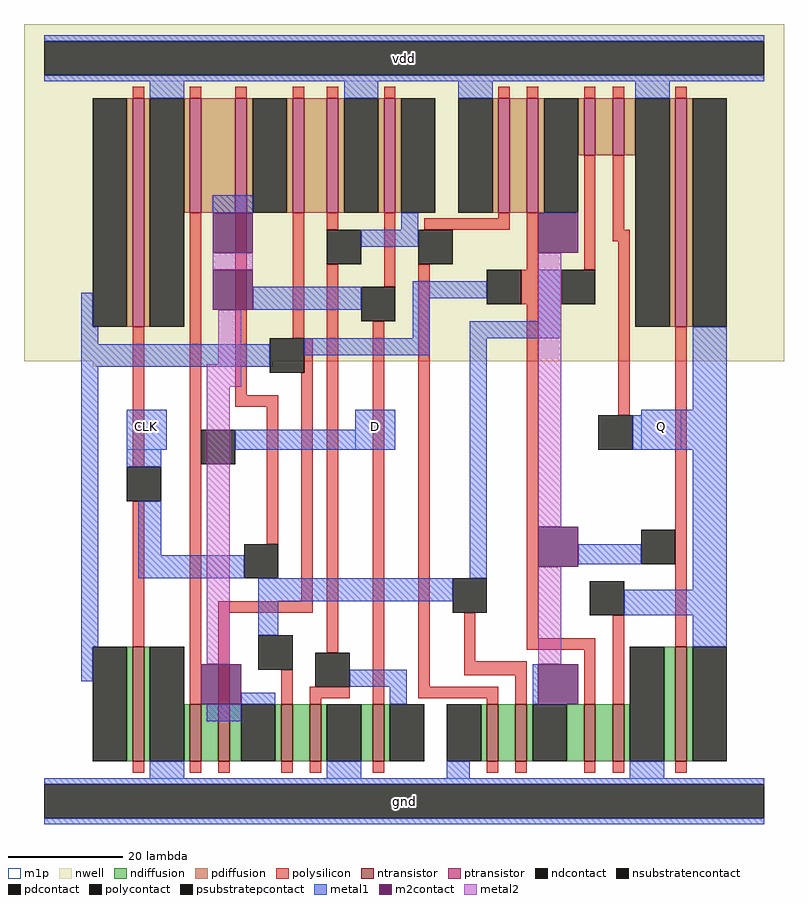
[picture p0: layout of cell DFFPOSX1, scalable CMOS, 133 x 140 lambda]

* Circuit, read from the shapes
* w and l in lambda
.subckt DFFPOSX1 D CLK Q vdd gnd
M1 gnd CLK n1 gnd nfet w=20 l=2
M2 n2 D gnd gnd nfet w=10 l=2
M3 n3 n1 n2 gnd nfet w=10 l=2
M4 n4 CLK n3 gnd nfet w=10 l=2
M5 gnd n5 n4 gnd nfet w=10 l=2
M6 n5 n3 gnd gnd nfet w=10 l=2
M7 n6 n5 gnd gnd nfet w=10 l=2
M8 n7 CLK n6 gnd nfet w=10 l=2
M9 n8 n1 n7 gnd nfet w=10 l=2
M10 gnd Q n8 gnd nfet w=10 l=2
M11 Q n7 gnd gnd nfet w=20 l=2
M12 vdd CLK n1 vdd pfet w=40 l=2
M13 n9 D vdd vdd pfet w=20 l=2
M14 n3 CLK n9 vdd pfet w=20 l=2
M15 n10 n1 n3 vdd pfet w=20 l=2
M16 vdd n5 n10 vdd pfet w=20 l=2
M17 n5 n3 vdd vdd pfet w=20 l=2
M18 n11 n5 vdd vdd pfet w=20 l=2
M19 n7 n1 n11 vdd pfet w=20 l=2
M20 n12 CLK n7 vdd pfet w=10 l=2
M21 vdd Q n12 vdd pfet w=10 l=2
M22 Q n7 vdd vdd pfet w=40 l=2
.ends

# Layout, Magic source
magic
tech scmos
magscale 1 2
<< nwell >>
rect -13 154 253 272
rect 11 152 74 154
<< ntransistor >>
rect 25 14 29 54
rect 45 14 49 34
rect 55 14 59 34
rect 77 14 81 34
rect 87 14 91 34
rect 109 14 113 34
rect 149 14 153 34
rect 159 14 163 34
rect 183 14 187 34
rect 193 14 197 34
rect 215 14 219 54
<< ptransistor >>
rect 25 166 29 246
rect 45 206 49 246
rect 61 206 65 246
rect 81 206 85 246
rect 93 206 97 246
rect 113 206 117 246
rect 153 206 157 246
rect 163 206 167 246
rect 183 226 187 246
rect 193 226 197 246
rect 215 166 219 246
<< ndiffusion >>
rect 23 14 25 54
rect 29 14 31 54
rect 43 14 45 34
rect 49 14 55 34
rect 59 14 63 34
rect 75 14 77 34
rect 81 14 87 34
rect 91 14 93 34
rect 105 14 109 34
rect 113 14 115 34
rect 147 14 149 34
rect 153 14 159 34
rect 163 14 165 34
rect 177 14 183 34
rect 187 14 193 34
rect 197 14 199 34
rect 211 14 215 54
rect 219 14 221 54
<< pdiffusion >>
rect 23 166 25 246
rect 29 166 31 246
rect 43 206 45 246
rect 49 206 61 246
rect 65 206 67 246
rect 79 206 81 246
rect 85 206 93 246
rect 97 206 99 246
rect 111 206 113 246
rect 117 206 119 246
rect 151 206 153 246
rect 157 206 163 246
rect 167 206 169 246
rect 181 226 183 246
rect 187 226 193 246
rect 197 226 201 246
rect 213 166 215 246
rect 219 166 221 246
<< ndcontact >>
rect 11 14 23 54
rect 31 14 43 54
rect 63 14 75 34
rect 93 14 105 34
rect 115 14 127 34
rect 135 14 147 34
rect 165 14 177 34
rect 199 14 211 54
rect 221 14 233 54
<< pdcontact >>
rect 11 166 23 246
rect 31 166 43 246
rect 67 206 79 246
rect 99 206 111 246
rect 119 206 131 246
rect 139 206 151 246
rect 169 206 181 246
rect 201 166 213 246
rect 221 166 233 246
<< psubstratepcontact >>
rect -6 -6 246 6
<< nsubstratencontact >>
rect -6 254 246 266
<< polysilicon >>
rect 25 246 29 250
rect 45 246 49 250
rect 61 246 65 250
rect 81 246 85 250
rect 93 246 97 250
rect 113 246 117 250
rect 153 246 157 250
rect 163 246 167 250
rect 183 246 187 250
rect 193 246 197 250
rect 215 246 219 250
rect 25 117 29 166
rect 25 54 29 105
rect 45 34 49 206
rect 61 142 65 206
rect 81 162 85 206
rect 93 200 97 206
rect 85 150 88 162
rect 61 138 76 142
rect 72 90 76 138
rect 84 70 88 150
rect 55 66 88 70
rect 55 34 59 66
rect 93 52 97 188
rect 113 180 117 206
rect 153 204 157 206
rect 127 200 157 204
rect 77 34 81 46
rect 87 36 101 40
rect 87 34 91 36
rect 109 34 113 168
rect 125 40 129 188
rect 163 186 167 206
rect 183 186 187 226
rect 193 200 197 226
rect 193 196 199 200
rect 161 174 167 186
rect 141 49 145 66
rect 163 57 167 174
rect 195 135 199 196
rect 163 53 187 57
rect 141 44 163 49
rect 125 36 153 40
rect 149 34 153 36
rect 159 34 163 44
rect 183 34 187 53
rect 193 34 197 65
rect 215 54 219 166
rect 25 10 29 14
rect 45 10 49 14
rect 55 10 59 14
rect 77 10 81 14
rect 87 10 91 14
rect 109 10 113 14
rect 149 10 153 14
rect 159 10 163 14
rect 183 10 187 14
rect 193 10 197 14
rect 215 10 219 14
<< polycontact >>
rect 23 105 35 117
rect 93 188 105 200
rect 73 150 85 162
rect 49 118 61 130
rect 64 78 76 90
rect 69 46 81 58
rect 105 168 117 180
rect 125 188 137 200
rect 89 40 101 52
rect 149 174 161 186
rect 175 174 187 186
rect 137 66 149 78
rect 188 123 200 135
rect 203 83 215 95
rect 185 65 197 77
<< metal1 >>
rect -6 266 246 268
rect -6 252 246 254
rect 31 246 43 252
rect 99 246 111 252
rect 139 246 151 252
rect 201 246 213 252
rect 7 166 11 178
rect 53 206 67 212
rect 119 200 125 206
rect 105 194 125 200
rect 67 172 105 180
rect 123 176 149 182
rect 7 160 13 166
rect 123 162 129 176
rect 167 168 175 186
rect 7 152 73 160
rect 7 54 13 152
rect 85 156 129 162
rect 143 162 175 168
rect 23 123 37 137
rect 103 130 117 137
rect 23 117 35 123
rect 61 123 117 130
rect 27 86 35 105
rect 27 78 64 86
rect 143 78 149 162
rect 221 137 233 166
rect 203 135 233 137
rect 200 123 233 135
rect 181 83 203 90
rect 69 70 137 78
rect 69 58 76 70
rect 221 74 233 123
rect 197 65 233 74
rect 7 42 11 54
rect 221 54 233 65
rect 101 40 121 46
rect 63 34 75 38
rect 115 34 121 40
rect 165 34 167 48
rect 51 28 63 34
rect 31 8 43 14
rect 93 8 105 14
rect 135 8 143 14
rect 199 8 211 14
rect -6 6 246 8
rect -6 -8 246 -6
<< m2contact >>
rect 53 192 67 206
rect 167 192 181 206
rect 53 172 67 186
rect 167 82 181 96
rect 49 34 63 48
rect 167 34 181 48
<< metal2 >>
rect 53 186 67 192
rect 55 153 63 172
rect 51 145 63 153
rect 51 48 59 145
rect 167 96 175 192
rect 167 48 175 82
<< m1p >>
rect -6 252 246 268
rect 23 123 37 137
rect 103 123 117 137
rect 203 123 217 137
rect -6 -8 246 8
<< labels >>
rlabel nsubstratencontact 120 260 120 260 0 vdd
port 4 nsew power bidirectional abutment
rlabel psubstratepcontact 120 0 120 0 0 gnd
port 5 nsew ground bidirectional abutment
rlabel metal1 30 131 30 131 0 CLK
port 2 nsew clock input
rlabel metal1 110 131 110 131 0 D
port 1 nsew signal input
rlabel metal1 210 131 210 131 0 Q
port 3 nsew signal output
<< properties >>
string FIXED_BBOX 0 0 240 260
string LEFclass CORE
string LEFsite core
string LEFsymmetry X Y
<< end >>
